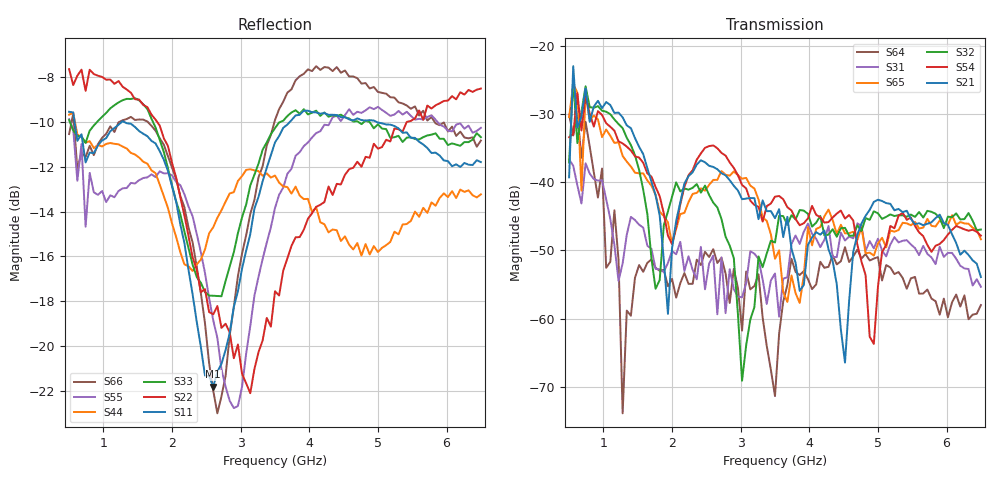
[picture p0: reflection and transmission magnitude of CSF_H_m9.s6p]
!Keysight Technologies,M9804A,MY58100912,A.14.10.03
!Date: Thursday, April 27, 2023 10:28:33
!Correction: S11(C  6-Port  )
!S12(C  6-Port  )
!S13(C  6-Port  )
!S14(C  6-Port  )
!S15(C  6-Port  )
!S16(C  6-Port  )
!S21(C  6-Port  )
!S22(C  6-Port  )
!S23(C  6-Port  )
!S24(C  6-Port  )
!S25(C  6-Port  )
!S26(C  6-Port  )
!S31(C  6-Port  )
!S32(C  6-Port  )
!S33(C  6-Port  )
!S34(C  6-Port  )
!S35(C  6-Port  )
!S36(C  6-Port  )
!S41(C  6-Port  )
!S42(C  6-Port  )
!S43(C  6-Port  )
!S44(C  6-Port  )
!S45(C  6-Port  )
!S46(C  6-Port  )
!S51(C  6-Port  )
!S52(C  6-Port  )
!S53(C  6-Port  )
!S54(C  6-Port  )
!S55(C  6-Port  )
!S56(C  6-Port  )
!S61(C  6-Port  )
!S62(C  6-Port  )
!S63(C  6-Port  )
!S64(C  6-Port  )
!S65(C  6-Port  )
!S66(C  6-Port  )
!S6P File: Measurement: :
# Hz S  RI  R 50
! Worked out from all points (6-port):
!   101 points, 500 MHz to 6.5 GHz, reference 50 ohm
!   strongest paths, dB at 500 MHz, 2 GHz, 3.5 GHz, 5 GHz, 6.5 GHz:
!     S21: -39.3, -49.7, -45.3, -42.6, -53.9
!     S54: -33.4, -49.1, -42.1, -55.3, -47.8
!     S32: -37.1, -42.1, -48.9, -44.6, -46.9
!     S65: -30.5, -49.1, -51.2, -49.0, -48.4
!     S31: -36.7, -50.1, -53.4, -48.3, -55.3
!     S64: -30.1, -54.2, -71.3, -51.0, -58.0
!   lowest |S11| = -21.8 dB at 2.6 GHz (marker M1), VSWR 1.18, Z = 42.7 + j1.92 ohm
!   |S11| at or under -10 dB: 579.9 MHz to 1.269 GHz (688.9 MHz wide, 74.5 % of centre); 1.299 GHz to 3.717 GHz (2.418 GHz wide, 96.4 % of centre); 4.979 GHz to end of sweep
